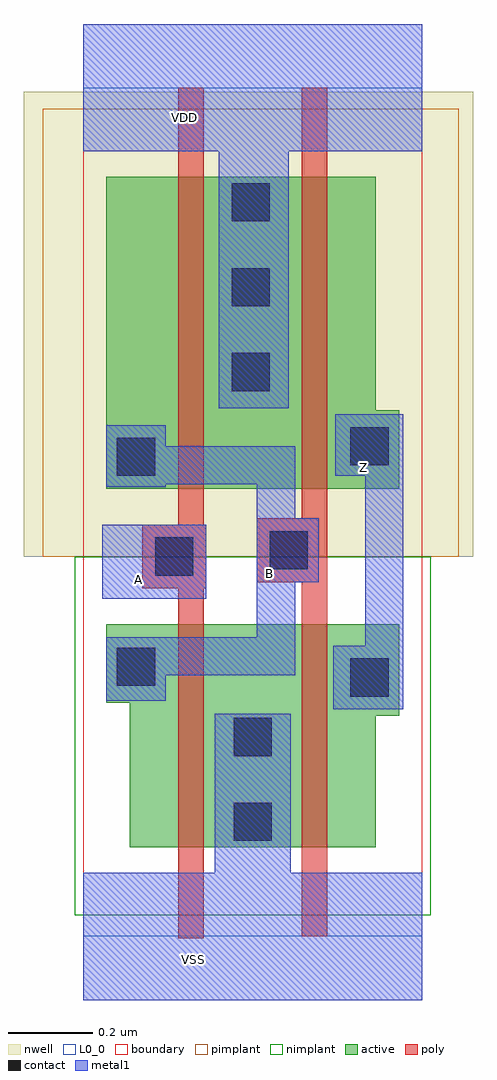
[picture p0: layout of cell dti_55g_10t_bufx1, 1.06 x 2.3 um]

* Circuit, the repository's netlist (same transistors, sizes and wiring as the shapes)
*##########################################################################################
* Copyright (c) 2023 Dolphin Technology, Inc.
* This netlist is proprietary and confidential information of
* Dolphin Technology, Inc. and can only be used or viewed
* under license or with written permission from Dolphin Technology, Inc.
*##########################################################################################
* /data/projects/stdcells/scripts_svn_update_flow/Update_property_flow/lvsNetlist.pl -c dti_55g_10t_bufx1 -p /data/projects/stdcells/scripts_svn_update_flow/Update_property_flow/params/params55.sp -s netlist -d lvs -nglob
* dt35-linux:/data/projects/stdcells/REPOSITORY_RV003/ckt/tsmc55 
* dti_55g_10t_bufx1.ckt generated on 6/2/2023 at 17:39:17
*##########################################################################################
* Dependencies
*##########################################################################################

.param wnd=1u wpd=1u

.option scale=1

.global vdd vss vddps vddcs
* DAMN, don't know where the cell is 
.subckt dti_55g_10t_bufx1 VDD VSS Z A
m1i60 Z N1N47 VDD VDD pch l=0.06u w=0.735u
m1i63 Z N1N47 VSS VSS nch l=0.06u w=0.525u
mnmos_a N1N47 A VSS VSS nch l=0.06u w=0.525u
mpmos_a N1N47 A VDD VDD pch l=0.06u w=0.735u
.ends

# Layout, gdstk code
from math import pi, radians
import gdstk
lib = gdstk.Library(unit=1e-6, precision=1e-09)
def R(c, l, rs):  # rectangles x0, y0, x1, y1
    for r in rs: c.add(gdstk.rectangle(r[:2], r[2:], *l))
def P(c, l, *ps):  # polygons
    for p in ps: c.add(gdstk.Polygon(p, *l))
L0_0 = (0, 0)
nwell = (3, 0)
active = (6, 0)
poly = (17, 0)
pimplant = (25, 0)
nimplant = (26, 0)
contact = (30, 0)
metal1 = (31, 0)
boundary = (108, 0)
L923_0 = (923, 0)

template_55g_10t_1 = lib.new_cell('template_55g_10t$1')
R(template_55g_10t_1, metal1, [(0,-0.15,0.2,0.15), (0,1.85,0.2,2.15)])
template_55g_10t_1.add(gdstk.FlexPath([(0.2,0.21),(0,0.21)], 0, ends="flush", simple_path=True, layer=923, datatype=0))  # L923_0
template_55g_10t_1.add(gdstk.FlexPath([(0.2,0.735),(0,0.735)], 0, ends="flush", simple_path=True, layer=923, datatype=0))  # L923_0
template_55g_10t_1.add(gdstk.FlexPath([(0.2,0.895),(0,0.895)], 0, ends="flush", simple_path=True, layer=923, datatype=0))  # L923_0
template_55g_10t_1.add(gdstk.FlexPath([(0.2,1.055),(0,1.055)], 0, ends="flush", simple_path=True, layer=923, datatype=0))  # L923_0
template_55g_10t_1.add(gdstk.FlexPath([(0.2,1.79),(0,1.79)], 0, ends="flush", simple_path=True, layer=923, datatype=0))  # L923_0

cellgrid_nom2_1 = lib.new_cell('cellgrid_noM2$1')
R(cellgrid_nom2_1, L0_0, [(0,0,0.2,0.2)])
cellgrid_nom2_1.add(gdstk.FlexPath([(0.2,0),(0,0.2)], 0, ends="flush", simple_path=True, layer=0, datatype=0))  # L0_0
cellgrid_nom2_1.add(gdstk.FlexPath([(0.2,0.2),(0,0)], 0, ends="flush", simple_path=True, layer=0, datatype=0))  # L0_0

pmos_735_n_2_1 = lib.new_cell('pmos_735_n_2$1')
R(pmos_735_n_2_1, nwell, [(-0.275,-0.16,0.335,0.895)])
R(pmos_735_n_2_1, active, [(-0.115,0,0.175,0.735)])
R(pmos_735_n_2_1, poly, [(0,-0.14,0.06,0.875)])
R(pmos_735_n_2_1, pimplant, [(-0.245,-0.16,0.305,0.895)])

cnt_n_1 = lib.new_cell('cnt_n$1')
R(cnt_n_1, active, [(-0.06,-0.075,0.06,0.075)])
R(cnt_n_1, contact, [(-0.045,-0.045,0.045,0.045)])
R(cnt_n_1, metal1, [(-0.045,-0.045,0.045,0.045)])

nmos_525_n_2_1 = lib.new_cell('nmos_525_n_2$1')
R(nmos_525_n_2_1, active, [(-0.115,0,0.175,0.525)])
R(nmos_525_n_2_1, poly, [(0,-0.14,0.06,0.665)])
R(nmos_525_n_2_1, nimplant, [(-0.245,-0.16,0.305,0.685)])

pmos_735_n_2 = lib.new_cell('pmos_735_n_2')
R(pmos_735_n_2, nwell, [(-0.275,-0.16,0.335,0.895)])
R(pmos_735_n_2, active, [(-0.115,0,0.175,0.735)])
R(pmos_735_n_2, poly, [(0,-0.14,0.06,0.875)])
R(pmos_735_n_2, pimplant, [(-0.245,-0.16,0.305,0.895)])

nmos_525_n_2 = lib.new_cell('nmos_525_n_2')
R(nmos_525_n_2, active, [(-0.115,0,0.175,0.525)])
R(nmos_525_n_2, poly, [(0,-0.14,0.06,0.665)])
R(nmos_525_n_2, nimplant, [(-0.245,-0.16,0.305,0.685)])

cnt_n = lib.new_cell('cnt_n')
R(cnt_n, active, [(-0.06,-0.075,0.06,0.075)])
R(cnt_n, contact, [(-0.045,-0.045,0.045,0.045)])
R(cnt_n, metal1, [(-0.045,-0.045,0.045,0.045)])

cnt_1 = lib.new_cell('cnt$1')
R(cnt_1, contact, [(-0.045,-0.045,0.045,0.045)])
R(cnt_1, metal1, [(-0.045,-0.045,0.045,0.045)])

pcnt_1 = lib.new_cell('pcnt$1')
R(pcnt_1, L0_0, [(-0.065,-0.065,0.065,0.065)])
R(pcnt_1, poly, [(-0.075,-0.075,0.075,0.075)])
pcnt_1.add(gdstk.Reference(cnt_1, (0,0)))

dti_55g_10t_bufx1 = lib.new_cell('dti_55g_10t_bufx1')
R(dti_55g_10t_bufx1, nwell, [(-0.14,0.895,0.92,1.99)])
R(dti_55g_10t_bufx1, active, [(0.69,0.52,0.745,0.735), (0.055,0.55,0.11,0.735), (0.055,1.055,0.11,1.79), (0.69,1.055,0.745,1.24)])
P(dti_55g_10t_bufx1, active, [(0.7,1.12),(0.7,1.12),(0.73,1.12),(0.73,1.12)])
R(dti_55g_10t_bufx1, poly, [(0.225,-0.005,0.285,0.07), (0.515,0,0.575,0.07), (0.225,0.875,0.285,0.915), (0.515,0.875,0.575,0.915), (0.225,1.93,0.285,2), (0.515,1.93,0.575,2)])
R(dti_55g_10t_bufx1, pimplant, [(-0.095,0.895,0.885,1.95), (-0.06,0.895,0.66,1.95), (0,0.895,0.6,1.95)])
R(dti_55g_10t_bufx1, nimplant, [(0,0.15,0.6,0.895)])
R(dti_55g_10t_bufx1, metal1, [(0.31,0.15,0.49,0.525), (0.59,0.535,0.755,0.685), (0.055,0.555,0.195,0.705), (0.185,0.615,0.5,0.705), (0.665,0.655,0.755,1.1), (0.41,0.705,0.5,0.835), (0.045,0.795,0.29,0.97), (0.41,0.835,0.555,0.985), (0.41,0.985,0.5,1.085), (0.055,1.06,0.195,1.205), (0.185,1.065,0.5,1.155), (0.595,1.085,0.755,1.23), (0.32,1.245,0.485,1.85)])
R(dti_55g_10t_bufx1, boundary, [(0,-0.15,0.8,2.15)])
r = gdstk.Reference(template_55g_10t_1, (0,0)); r.repetition = gdstk.Repetition(4, 1, v1=(0.2,0), v2=(0,0)); dti_55g_10t_bufx1.add(r)
r = gdstk.Reference(cellgrid_nom2_1, (0,0)); r.repetition = gdstk.Repetition(4, 10, v1=(0.2,0), v2=(0,0.2)); dti_55g_10t_bufx1.add(r)
dti_55g_10t_bufx1.add(gdstk.Reference(pmos_735_n_2_1, (0.515,1.055)))
dti_55g_10t_bufx1.add(gdstk.Reference(cnt_n_1, (0.395,1.73), rotation=pi/2))
dti_55g_10t_bufx1.add(gdstk.Reference(cnt_n_1, (0.395,1.53), rotation=pi/2))
dti_55g_10t_bufx1.add(gdstk.Reference(nmos_525_n_2_1, (0.515,0.21)))
dti_55g_10t_bufx1.add(gdstk.Reference(cnt_n_1, (0.4,0.27), rotation=pi/2))
dti_55g_10t_bufx1.add(gdstk.Reference(cnt_n_1, (0.4,0.47), rotation=pi/2))
dti_55g_10t_bufx1.add(gdstk.Reference(cnt_n_1, (0.675,1.155), rotation=pi))
dti_55g_10t_bufx1.add(gdstk.Reference(cnt_n_1, (0.395,1.33), rotation=3*pi/2))
dti_55g_10t_bufx1.add(gdstk.Reference(pmos_735_n_2, (0.225,1.055)))
dti_55g_10t_bufx1.add(gdstk.Reference(nmos_525_n_2, (0.225,0.21)))
dti_55g_10t_bufx1.add(gdstk.Reference(cnt_n, (0.125,1.13)))
dti_55g_10t_bufx1.add(gdstk.Reference(cnt_n, (0.125,0.635)))
dti_55g_10t_bufx1.add(gdstk.Reference(cnt_n_1, (0.675,0.61), rotation=pi))
dti_55g_10t_bufx1.add(gdstk.Reference(pcnt_1, (0.485,0.91)))
dti_55g_10t_bufx1.add(gdstk.Reference(pcnt_1, (0.215,0.895)))
dti_55g_10t_bufx1.add(gdstk.Label('Z', (0.66,1.105), layer=131, texttype=0))
dti_55g_10t_bufx1.add(gdstk.Label('A', (0.13,0.84), layer=131, texttype=0))
dti_55g_10t_bufx1.add(gdstk.Label('VSS', (0.26,-0.055), layer=131, texttype=0))
dti_55g_10t_bufx1.add(gdstk.Label('VDD', (0.24,1.93), layer=131, texttype=0))
dti_55g_10t_bufx1.add(gdstk.Label('B', (0.44,0.855), layer=131, texttype=0))

lib.write_gds('dti_55g_10t_bufx1.gds')
